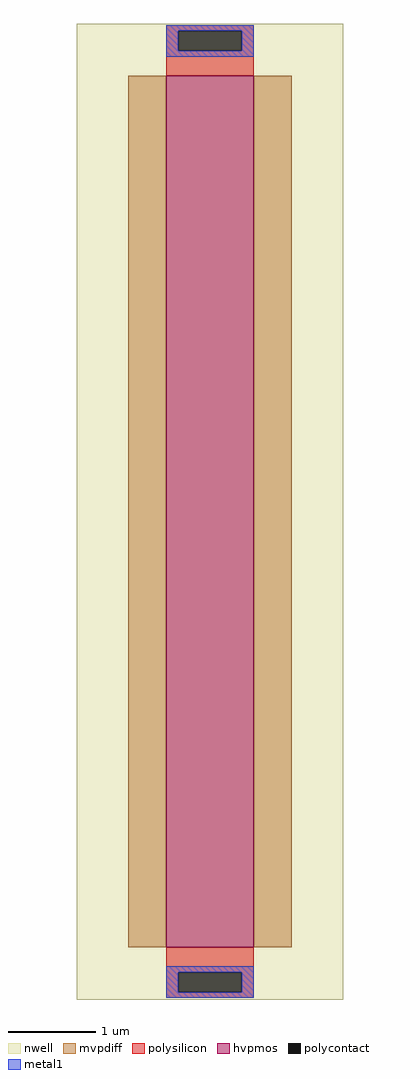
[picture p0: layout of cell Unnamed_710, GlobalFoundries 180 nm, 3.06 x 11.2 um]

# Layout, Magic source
magic
tech gf180mcuD
magscale 1 10
<< nwell >>
rect -192 -120 420 2120
<< hvpmos >>
rect 14 0 214 2000
<< mvpdiff >>
rect -74 0 14 2000
rect 214 0 302 2000
<< polysilicon >>
rect 14 2103 214 2116
rect 14 2057 41 2103
rect 187 2057 214 2103
rect 14 2000 214 2057
rect 14 -57 214 0
rect 14 -103 41 -57
rect 187 -103 214 -57
rect 14 -116 214 -103
<< polycontact >>
rect 41 2057 187 2103
rect 41 -103 187 -57
<< metal1 >>
rect 14 2103 214 2116
rect 14 2057 41 2103
rect 187 2057 214 2103
rect 14 2044 214 2057
rect 14 -57 214 -44
rect 14 -103 41 -57
rect 187 -103 214 -57
rect 14 -116 214 -103
<< end >>
